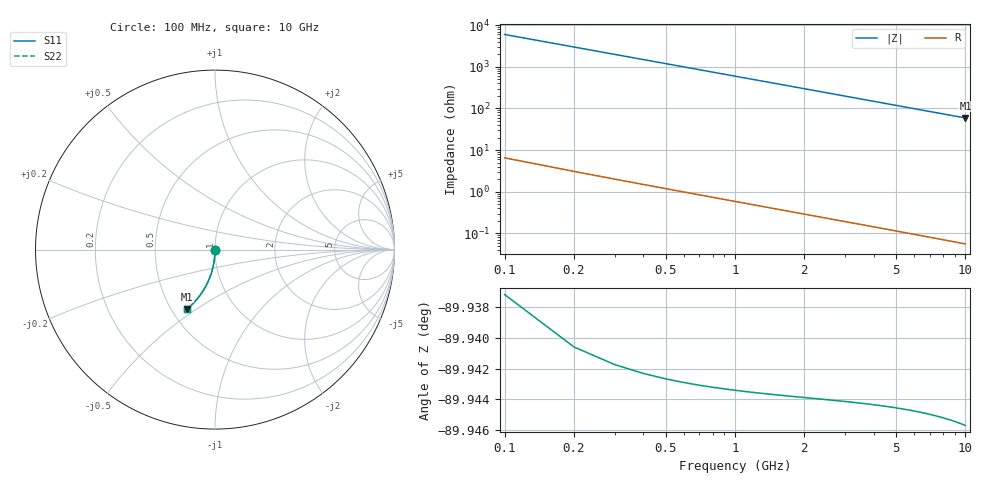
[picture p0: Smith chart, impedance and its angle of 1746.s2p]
# Hz S RI R 50.00
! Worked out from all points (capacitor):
!   100 points, 100 MHz to 10 GHz, reference 50 ohm
!   read as one part in shunt: C = 268 fF near 100 MHz
!   lowest |Z| = 59 ohm at 10 GHz (marker M1)
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1e8  5.61e-05 -0.0039  0.9999 -0.00452  0.9999 -0.00452  5.61e-05 -0.0039
2e8  -3.01e-07 -0.00779  0.9998 -0.00904  0.9998 -0.00904  -3.01e-07 -0.00779
3e8  -9.21e-05 -0.0117  0.9997 -0.0136  0.9997 -0.0136  -9.21e-05 -0.0117
4e8  -0.000219 -0.0156  0.9996 -0.0181  0.9996 -0.0181  -0.000219 -0.0156
5e8  -0.000382 -0.0195  0.9995 -0.0226  0.9995 -0.0226  -0.000382 -0.0195
6e8  -0.000579 -0.0234  0.9993 -0.0271  0.9993 -0.0271  -0.000579 -0.0234
7e8  -0.000812 -0.0273  0.999 -0.0316  0.999 -0.0316  -0.000812 -0.0273
8e8  -0.00108 -0.0311  0.9987 -0.0361  0.9987 -0.0361  -0.00108 -0.0311
9e8  -0.00138 -0.035  0.9984 -0.0407  0.9984 -0.0407  -0.00138 -0.035
1.1e9  -0.0021 -0.0428  0.9977 -0.0497  0.9977 -0.0497  -0.0021 -0.0428
1.4e9  -0.00343 -0.0544  0.9964 -0.0632  0.9964 -0.0632  -0.00343 -0.0544
1.8e9  -0.00569 -0.0698  0.9941 -0.0811  0.9941 -0.0811  -0.00569 -0.0698
2.1e9  -0.00775 -0.0813  0.992 -0.0945  0.992 -0.0945  -0.00775 -0.0813
2.5e9  -0.011 -0.0965  0.9887 -0.1122  0.9887 -0.1122  -0.011 -0.0965
2.9e9  -0.0147 -0.1116  0.9849 -0.1298  0.9849 -0.1298  -0.0147 -0.1116
3.4e9  -0.0202 -0.1302  0.9794 -0.1515  0.9794 -0.1515  -0.0202 -0.1302
4.2e9  -0.0306 -0.1592  0.9689 -0.1856  0.9689 -0.1856  -0.0306 -0.1592
5.1e9  -0.0446 -0.1906  0.9547 -0.2228  0.9547 -0.2228  -0.0446 -0.1906
5.9e9  -0.059 -0.2173  0.9401 -0.2545  0.9401 -0.2545  -0.059 -0.2173
6.7e9  -0.075 -0.2426  0.9239 -0.285  0.9239 -0.285  -0.075 -0.2426
8.4e9  -0.1137 -0.2912  0.8847 -0.3447  0.8847 -0.3447  -0.1137 -0.2912
1e10  -0.1547 -0.3302  0.8431 -0.3941  0.8431 -0.3941  -0.1547 -0.3302
